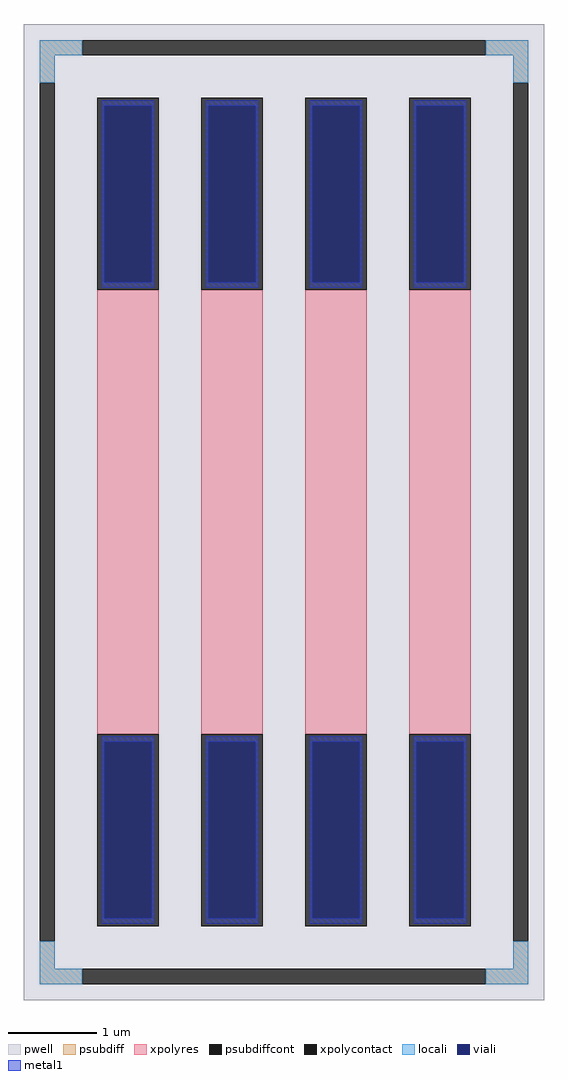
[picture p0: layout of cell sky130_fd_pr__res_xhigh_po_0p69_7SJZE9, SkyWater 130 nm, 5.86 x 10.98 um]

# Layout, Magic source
magic
tech sky130A
magscale 1 2
<< pwell >>
rect -586 -1098 586 1098
<< psubdiff >>
rect -550 1028 -454 1062
rect 454 1028 550 1062
rect -550 966 -516 1028
rect 516 966 550 1028
rect -550 -1028 -516 -966
rect 516 -1028 550 -966
rect -550 -1062 -454 -1028
rect 454 -1062 550 -1028
<< psubdiffcont >>
rect -454 1028 454 1062
rect -550 -966 -516 966
rect 516 -966 550 966
rect -454 -1062 454 -1028
<< xpolycontact >>
rect -420 500 -282 932
rect -420 -932 -282 -500
rect -186 500 -48 932
rect -186 -932 -48 -500
rect 48 500 186 932
rect 48 -932 186 -500
rect 282 500 420 932
rect 282 -932 420 -500
<< xpolyres >>
rect -420 -500 -282 500
rect -186 -500 -48 500
rect 48 -500 186 500
rect 282 -500 420 500
<< locali >>
rect -550 1028 -454 1062
rect 454 1028 550 1062
rect -550 966 -516 1028
rect 516 966 550 1028
rect -550 -1028 -516 -966
rect 516 -1028 550 -966
rect -550 -1062 -454 -1028
rect 454 -1062 550 -1028
<< viali >>
rect -404 517 -298 914
rect -170 517 -64 914
rect 64 517 170 914
rect 298 517 404 914
rect -404 -914 -298 -517
rect -170 -914 -64 -517
rect 64 -914 170 -517
rect 298 -914 404 -517
<< metal1 >>
rect -410 914 -292 926
rect -410 517 -404 914
rect -298 517 -292 914
rect -410 505 -292 517
rect -176 914 -58 926
rect -176 517 -170 914
rect -64 517 -58 914
rect -176 505 -58 517
rect 58 914 176 926
rect 58 517 64 914
rect 170 517 176 914
rect 58 505 176 517
rect 292 914 410 926
rect 292 517 298 914
rect 404 517 410 914
rect 292 505 410 517
rect -410 -517 -292 -505
rect -410 -914 -404 -517
rect -298 -914 -292 -517
rect -410 -926 -292 -914
rect -176 -517 -58 -505
rect -176 -914 -170 -517
rect -64 -914 -58 -517
rect -176 -926 -58 -914
rect 58 -517 176 -505
rect 58 -914 64 -517
rect 170 -914 176 -517
rect 58 -926 176 -914
rect 292 -517 410 -505
rect 292 -914 298 -517
rect 404 -914 410 -517
rect 292 -926 410 -914
<< properties >>
string FIXED_BBOX -533 -1045 533 1045
string gencell sky130_fd_pr__res_xhigh_po_0p69
string library sky130
string parameters w 0.690 l 5 m 1 nx 4 wmin 0.690 lmin 0.50 rho 2000 val 15.038k dummy 0 dw 0.0 term 188.2 sterm 0.0 caplen 0 wmax 0.690 guard 1 glc 1 grc 1 gtc 1 gbc 1 compatible {sky130_fd_pr__res_xhigh_po_0p35  sky130_fd_pr__res_xhigh_po_0p69 sky130_fd_pr__res_xhigh_po_1p41  sky130_fd_pr__res_xhigh_po_2p85 sky130_fd_pr__res_xhigh_po_5p73} snake 0 full_metal 1 n_guard 0 hv_guard 0 vias 1 viagb 0 viagt 0 viagl 0 viagr 0
string sky130_fd_pr__res_xhigh_po_0p69_7SJZE9 gencell
<< end >>
